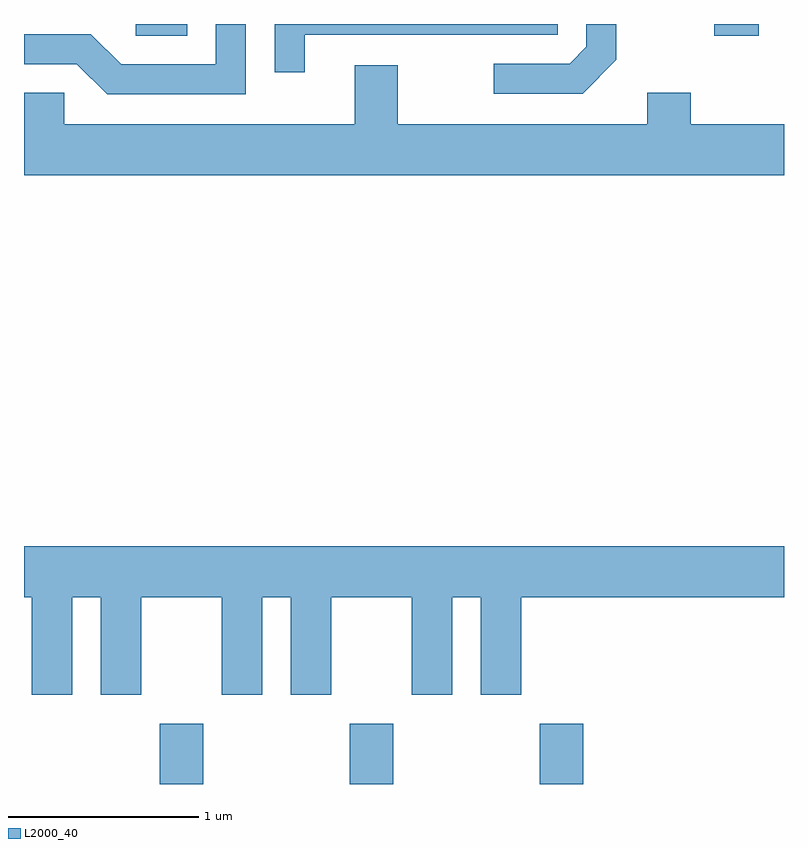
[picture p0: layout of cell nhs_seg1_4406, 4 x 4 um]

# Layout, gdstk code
import gdstk
lib = gdstk.Library(unit=1e-6, precision=1e-09)
def R(c, l, rs):  # rectangles x0, y0, x1, y1
    for r in rs: c.add(gdstk.rectangle(r[:2], r[2:], *l))
def A(c, l, x, y, w, h, nx, ny, dx, dy):  # array of equal rectangles
    R(c, l, [(x+i*dx, y+j*dy, x+i*dx+w, y+j*dy+h) for i in range(nx) for j in range(ny)])
def P(c, l, *ps):  # polygons
    for p in ps: c.add(gdstk.Polygon(p, *l))
L2000_40 = (2000, 40)

nhs_seg1_4406 = lib.new_cell('nhs_seg1_4406')
A(nhs_seg1_4406, L2000_40, 318.326, 889.712, 0.228, 0.317, 3, 1, 1, 0)
R(nhs_seg1_4406, L2000_40, [(318.198,893.651,318.469,893.712), (321.243,893.651,321.479,893.712)])
P(nhs_seg1_4406, L2000_40, [(318.779,893.712),(318.621,893.712),(318.621,893.499),(318.122,893.499),(317.962,893.659),(317.611,893.659),(317.611,893.501),(317.889,893.501),(318.049,893.341),(318.779,893.341)],
  [(320.729,893.524),(320.729,893.712),(320.571,893.712),(320.571,893.592),(320.484,893.504),(320.083,893.504),(320.083,893.346),(320.552,893.346)],
  [(319.089,893.656),(320.419,893.656),(320.419,893.712),(318.931,893.712),(318.931,893.458),(319.089,893.458)],
  [(321.611,893.184),(321.119,893.184),(321.119,893.349),(320.891,893.349),(320.891,893.184),(319.579,893.184),(319.579,893.494),(319.351,893.494),(319.351,893.184),(317.824,893.184),(317.824,893.349),(317.611,893.349),(317.611,892.916),(321.611,892.916)],
  [(317.864,890.696),(318.016,890.696),(318.016,890.181),(318.229,890.181),(318.229,890.696),(318.651,890.696),(318.651,890.181),(318.864,890.181),(318.864,890.696),(319.016,890.696),(319.016,890.181),(319.229,890.181),(319.229,890.696),(319.651,890.696),(319.651,890.181),(319.864,890.181),(319.864,890.696),(320.016,890.696),(320.016,890.181),(320.229,890.181),(320.229,890.696),(321.611,890.696),(321.611,890.964),(317.611,890.964),(317.611,890.696),(317.651,890.696),(317.651,890.181),(317.864,890.181)])

lib.write_gds('nhs_seg1_4406.gds')
